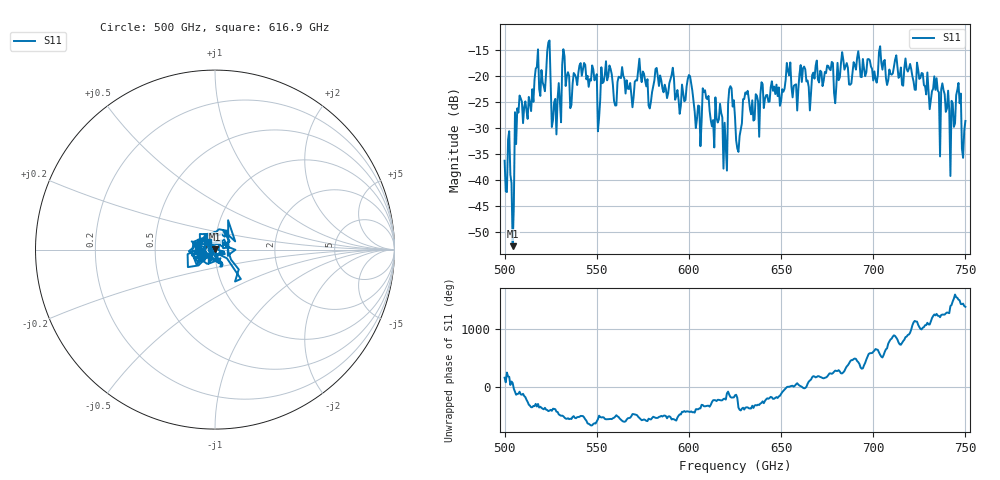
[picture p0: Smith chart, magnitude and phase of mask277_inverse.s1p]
!Created with skrf (http://scikit-rf.org).
# GHz S MA R 50.0
!freq magS11 angS11
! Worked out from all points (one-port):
!   401 points, 500 GHz to 750 GHz, reference 50 ohm
!   lowest |S11| = -52.7 dB at 504.4 GHz (marker M1), VSWR 1.00, Z = 50.1 + j0.22 ohm
!   |S11| at or under -10 dB: start of sweep to end of sweep
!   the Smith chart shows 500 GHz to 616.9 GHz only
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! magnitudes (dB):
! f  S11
! 500 GHz  -36.3
! 504.4 GHz  -52.7
! 508.1 GHz  -23.8
! 523.8 GHz  -13.6
! 526.9 GHz  -25.1
! 531.2 GHz  -17.9
! 548.8 GHz  -20.9
! 550.6 GHz  -30.6
! 553.8 GHz  -21.1
! 560 GHz  -25.7
! 562.5 GHz  -20.3
! 579.4 GHz  -25.0
! 590.6 GHz  -19.8
! 593.8 GHz  -22.7
! 600.6 GHz  -20.1
! 605 GHz  -25.7
! 608.8 GHz  -22.8
! 619.4 GHz  -29.0
! 623.1 GHz  -22.4
! 625 GHz  -27.9
! 626.9 GHz  -34.6
! 630.6 GHz  -23.2
! 656.2 GHz  -24.1
! 687.5 GHz  -21.7
! 718.8 GHz  -19.2
! 743.1 GHz  -25.2
! 746.2 GHz  -21.4
! 750 GHz  -28.6
